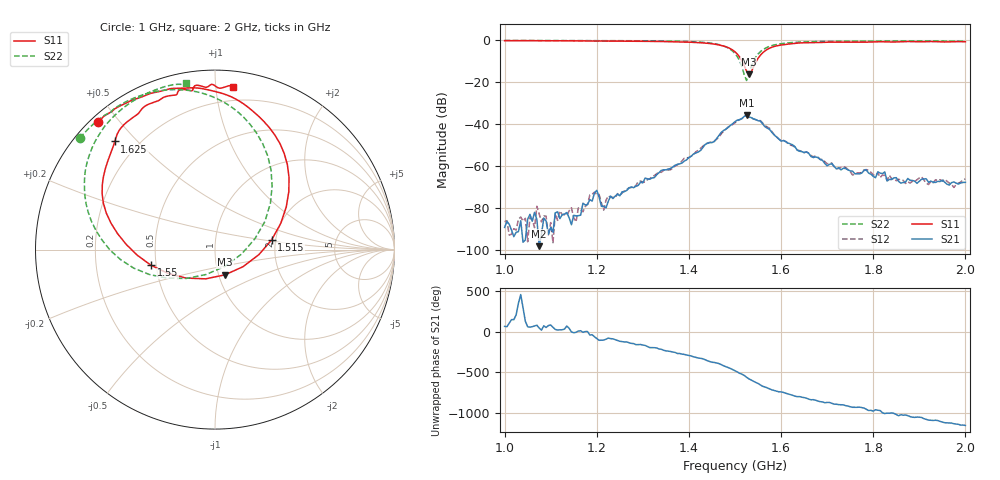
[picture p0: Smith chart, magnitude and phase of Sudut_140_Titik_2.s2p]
# Hz S RI R 50
! CMT, C1220, 16058040, 17.2.0/1
! Date: 14/08/2018 12:46:56
! Data: Format (Calibration Info)
! Freq  S11: Re/Im (F2)  S21: Re/Im (F2)  S12: Re/Im (F2)  S22: Re/Im (F2)
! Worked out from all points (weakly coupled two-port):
!   201 points, 1 GHz to 2 GHz, reference 50 ohm
!   highest |S21| = -35.89 dB at 1.525 GHz (marker M1); lowest = -98.2 dB at 1.075 GHz (marker M2)
!   lowest |S11| = -16.4 dB at 1.53 GHz (marker M3), VSWR 1.36, Z = 53.6 - j15.4 ohm
!   |S11| at or under -10 dB: 1.515 GHz to 1.547 GHz (31.32 MHz wide, 2.05 % of centre)
!   |S22| runs from -19.3 to -0.2 dB; largest |S21 - S12| = 0.00071
!   S11 on the Smith chart (normalised r, x): 1 GHz: 0.02, +0.44; 1.515 GHz: 1.90, +0.23; 1.55 GHz: 0.47, -0.09; 1.625 GHz: 0.12, +0.43; 2 GHz: 0.10, +1.11
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1e9  -0.6513 0.7134  1.43e-05 3.15e-05  -4.67e-05 7.39e-06  -0.7537 0.6215
1.075e9  -0.5722 0.7717  8.7e-06 8.78e-06  -2.34e-05 6.91e-05  -0.7009 0.6769
1.17e9  -0.4809 0.8237  0.000129 -1.85e-05  7.53e-05 3.11e-05  -0.6184 0.7466
1.19e9  -0.4506 0.8372  0.000115 -8.98e-05  0.000148 -0.000153  -0.5956 0.7585
1.2e9  -0.4389 0.8403  2.45e-05 -0.000263  1.85e-05 -0.000209  -0.5851 0.7599
1.215e9  -0.4235 0.8451  -2.73e-05 -0.000107  -1.47e-05 -8.83e-05  -0.5781 0.7685
1.22e9  -0.4166 0.8475  -5.07e-06 -0.0001  1.4e-05 -0.000152  -0.5739 0.7739
1.23e9  -0.3992 0.854  1.42e-05 -0.000192  -1.25e-05 -0.00018  -0.5632 0.7837
1.335e9  -0.219 0.898  -0.000577 0.00038  -0.000589 0.000418  -0.404 0.8615
1.45e9  0.1837 0.7937  0.00345 -0.00108  0.00349 -0.00138  0.0185 0.8371
1.5e9  0.4116 0.325  -0.00598 -0.00969  -0.00562 -0.00908  0.3182 0.3543
1.515e9  0.3157 0.0542  -0.013 -0.00342  -0.013 -0.00379  0.2229 0.0611
1.525e9  0.1563 -0.0951  -0.0148 0.0063  -0.0149 0.00621  0.0559 -0.0934
1.53e9  0.0558 -0.1405  -0.0109 0.00976  -0.0109 0.0098  -0.05 -0.1388
1.55e9  -0.3565 -0.0873  0.00198 0.0118  0.00151 0.0119  -0.4534 -0.1028
1.58e9  -0.6222 0.2598  0.00635 0.000148  0.00661 -0.000114  -0.7067 0.2092
1.625e9  -0.5583 0.6024  0.00132 -0.00292  0.00135 -0.00272  -0.7033 0.5171
1.67e9  -0.4445 0.7448  -0.000786 -0.00139  -0.00084 -0.00144  -0.6278 0.6681
1.755e9  -0.2787 0.8513  -0.000628 0.000421  -0.000508 0.000344  -0.4929 0.803
1.835e9  -0.1359 0.8859  0.000145 0.000458  0.000221 0.000558  -0.3817 0.8691
1.975e9  0.0658 0.9095  0.000228 -0.000351  0.000128 -0.000282  -0.1875 0.9207
2e9  0.1018 0.9059  8.32e-05 -0.0004  0.00012 -0.000479  -0.1598 0.93
